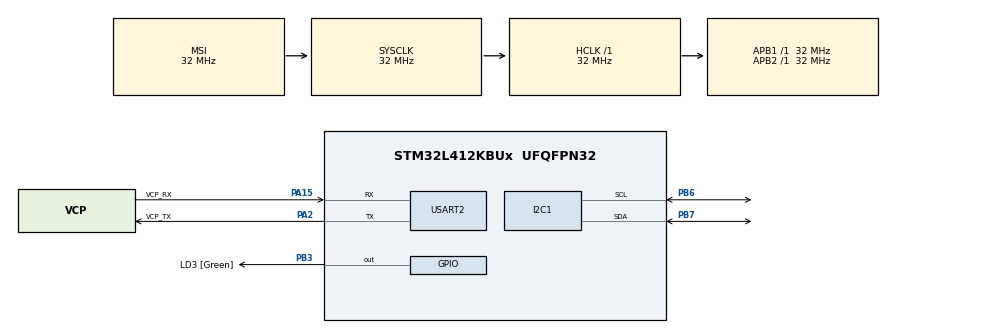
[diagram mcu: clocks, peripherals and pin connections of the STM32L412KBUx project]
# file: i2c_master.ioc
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Mcu.Family=STM32L4
PB3\ (JTDO/TRACESWO).GPIO_Label=LD3 [Green]
RCC.MSI_VALUE=32000000
RCC.CortexFreq_Value=32000000
PA13\ (JTMS/SWDIO).Mode=Serial_Wire
PA0-CK_IN.Mode=HSE-External-Clock-Source-for-LittleOrca
PC15-OSC32_OUT\ (PC15).Signal=RCC_OSC32_OUT
PA15\ (JTDI).Signal=USART2_RX
PC15-OSC32_OUT\ (PC15).Mode=LSE-External-Oscillator
ProjectManager.StackSize=0x400
PC14-OSC32_IN\ (PC14).Mode=LSE-External-Oscillator
PA14\ (JTCK/SWCLK).Signal=SYS_JTCK-SWCLK
PA15\ (JTDI).Mode=Asynchronous
PB3\ (JTDO/TRACESWO).Signal=GPIO_Output
ProjectManager.TargetToolchain=STM32CubeIDE
RCC.HCLKFreq_Value=32000000
RCC.FLatency=FLASH_LATENCY_1
RCC.APB2TimFreq_Value=32000000
PB6.Signal=I2C1_SCL
I2C1.Timing=0x00707CBB
PB6.Mode=I2C
RCC.HSICalibrationValue=16
RCC.USBFreq_Value=32000000
RCC.AHBFreq_Value=32000000
RCC.HSE_VALUE=8000000
board=NUCLEO-L412KB
USART2.VirtualMode-Asynchronous=VM_ASYNC
RCC.VCOOutputFreq_Value=256000000
PA0-CK_IN.Signal=RCC_CK_IN
PA13\ (JTMS/SWDIO).GPIO_Label=SWDIO
RCC.APB2Freq_Value=32000000
RCC.LSE_Drive_Capability=RCC_LSEDRIVE_LOW
RCC.ADCFreq_Value=32000000
PB7.Signal=I2C1_SDA
PA14\ (JTCK/SWCLK).Mode=Serial_Wire
PA15\ (JTDI).GPIO_Label=VCP_RX
Mcu.Name=STM32L412KBUx
PA2.Signal=USART2_TX
RCC.SYSCLKFreq_VALUE=32000000
Mcu.Package=UFQFPN32
PC14-OSC32_IN\ (PC14).Signal=RCC_OSC32_IN
PA2.GPIO_Label=VCP_TX
PB7.Mode=I2C
ProjectManager.HeapSize=0x200
RCC.HSI_VALUE=16000000
NVIC.PriorityGroup=NVIC_PRIORITYGROUP_4
PA14\ (JTCK/SWCLK).GPIO_Label=SWCLK
RCC.APB1TimFreq_Value=32000000
PA2.Mode=Asynchronous
RCC.APB1Freq_Value=32000000
RCC.MSIClockRange=RCC_MSIRANGE_10
RCC.HSI48_VALUE=48000000
PA13\ (JTMS/SWDIO).Signal=SYS_JTMS-SWDIO

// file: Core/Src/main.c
/* USER CODE BEGIN Header */
/**
  ******************************************************************************
  * @file           : main.c
  * @brief          : Main program body
  ******************************************************************************
  * @attention
  *
  * <h2><center>&copy; Copyright (c) 2021 STMicroelectronics.
  * All rights reserved.</center></h2>
  *
  * This software component is licensed by ST under BSD 3-Clause license,
  * the "License"; You may not use this file except in compliance with the
  * License. You may obtain a copy of the License at:
  *                        opensource.org/licenses/BSD-3-Clause
  *
  ******************************************************************************
  */
/* USER CODE END Header */
#include "main.h"

/* USER CODE BEGIN Includes */
#include "stdint.h"
#include "stdio.h"
/* USER CODE END Includes */

I2C_HandleTypeDef hi2c1;

UART_HandleTypeDef huart2;

void SystemClock_Config(void);
static void MX_GPIO_Init(void);
static void MX_USART2_UART_Init(void);
static void MX_I2C1_Init(void);

/* USER CODE BEGIN 0 */

#ifdef __GNUC__
/* With GCC/RAISONANCE, small printf (option LD Linker->Libraries->Small printf
 set to 'Yes') calls __io_putchar() */
#define PUTCHAR_PROTOTYPE int __io_putchar(int ch)
#else
#define PUTCHAR_PROTOTYPE int fputc(int ch, FILE *f)
#endif /* __GNUC__ */

uint8_t uart_buff = 0;
uint8_t command_1 = 0x45;
uint8_t command_2 = 0x23;
uint8_t laser_status = 0;
uint8_t slave_add = 0x23 << 1;

/* USER CODE END 0 */

int main(void)
{

  /* MCU Configuration--------------------------------------------------------*/

  /* Reset of all peripherals, Initializes the Flash interface and the Systick. */
  HAL_Init();

  /* Configure the system clock */
  SystemClock_Config();

  /* Initialize all configured peripherals */
  MX_GPIO_Init();
  MX_USART2_UART_Init();
  MX_I2C1_Init();

  /* Infinite loop */
  /* USER CODE BEGIN WHILE */
  while (1)
  {
	  HAL_UART_Receive(&huart2, &uart_buff, 1, 100);
	  if (uart_buff == 0xFF){
		  HAL_I2C_Master_Transmit(&hi2c1, (0x23 << 1), &command_1, 1, 500);
		  printf("sent command %x\n",slave_add);
		  uart_buff = 0;
	  }
	  if (uart_buff == 0xAA){
		  HAL_I2C_Master_Transmit(&hi2c1, (0x23 << 1), &command_2, 1, 500);
		  HAL_I2C_Master_Receive(&hi2c1, (0x23 << 1), &laser_status, 1, 500);
		  printf("status = %x\n",laser_status);
		  laser_status = 0;
		  uart_buff = 0;
	  }
	  if (uart_buff == 0xBB){
		  HAL_I2C_Master_Transmit(&hi2c1, (0x23 << 1), &command_1, 1, 500);
		  printf("sent command %x\n",slave_add);
		  for (int j = 0; j < 10;j++){
			  HAL_I2C_Master_Transmit(&hi2c1, (0x23 << 1), &command_2, 1, 500);
			  HAL_I2C_Master_Receive(&hi2c1, (0x23 << 1), &laser_status, 1, 500);
			  printf("status = %x\n",laser_status);
			  HAL_Delay(500);
		  }
		  uart_buff = 0;
	  }
    /* USER CODE END WHILE */

  }
}

void SystemClock_Config(void)
{
  RCC_OscInitTypeDef RCC_OscInitStruct = {0};
  RCC_ClkInitTypeDef RCC_ClkInitStruct = {0};
  RCC_PeriphCLKInitTypeDef PeriphClkInit = {0};

  /** Configure LSE Drive Capability
  */
  HAL_PWR_EnableBkUpAccess();
  __HAL_RCC_LSEDRIVE_CONFIG(RCC_LSEDRIVE_LOW);
  /** Configure the main internal regulator output voltage
  */
  if (HAL_PWREx_ControlVoltageScaling(PWR_REGULATOR_VOLTAGE_SCALE1) != HAL_OK)
  {
    Error_Handler();
  }
  /** Initializes the RCC Oscillators according to the specified parameters
  * in the RCC_OscInitTypeDef structure.
  */
  RCC_OscInitStruct.OscillatorType = RCC_OSCILLATORTYPE_LSE|RCC_OSCILLATORTYPE_MSI;
  RCC_OscInitStruct.LSEState = RCC_LSE_ON;
  RCC_OscInitStruct.MSIState = RCC_MSI_ON;
  RCC_OscInitStruct.MSICalibrationValue = 0;
  RCC_OscInitStruct.MSIClockRange = RCC_MSIRANGE_10;
  RCC_OscInitStruct.PLL.PLLState = RCC_PLL_NONE;
  if (HAL_RCC_OscConfig(&RCC_OscInitStruct) != HAL_OK)
  {
    Error_Handler();
  }
  /** Initializes the CPU, AHB and APB buses clocks
  */
  RCC_ClkInitStruct.ClockType = RCC_CLOCKTYPE_HCLK|RCC_CLOCKTYPE_SYSCLK
                              |RCC_CLOCKTYPE_PCLK1|RCC_CLOCKTYPE_PCLK2;
  RCC_ClkInitStruct.SYSCLKSource = RCC_SYSCLKSOURCE_MSI;
  RCC_ClkInitStruct.AHBCLKDivider = RCC_SYSCLK_DIV1;
  RCC_ClkInitStruct.APB1CLKDivider = RCC_HCLK_DIV1;
  RCC_ClkInitStruct.APB2CLKDivider = RCC_HCLK_DIV1;

  if (HAL_RCC_ClockConfig(&RCC_ClkInitStruct, FLASH_LATENCY_1) != HAL_OK)
  {
    Error_Handler();
  }
  PeriphClkInit.PeriphClockSelection = RCC_PERIPHCLK_USART2|RCC_PERIPHCLK_I2C1;
  PeriphClkInit.Usart2ClockSelection = RCC_USART2CLKSOURCE_PCLK1;
  PeriphClkInit.I2c1ClockSelection = RCC_I2C1CLKSOURCE_PCLK1;
  if (HAL_RCCEx_PeriphCLKConfig(&PeriphClkInit) != HAL_OK)
  {
    Error_Handler();
  }
  /** Enable MSI Auto calibration
  */
  HAL_RCCEx_EnableMSIPLLMode();
}

static void MX_I2C1_Init(void)
{

  hi2c1.Instance = I2C1;
  hi2c1.Init.Timing = 0x00707CBB;
  hi2c1.Init.OwnAddress1 = 0;
  hi2c1.Init.AddressingMode = I2C_ADDRESSINGMODE_7BIT;
  hi2c1.Init.DualAddressMode = I2C_DUALADDRESS_DISABLE;
  hi2c1.Init.OwnAddress2 = 0;
  hi2c1.Init.OwnAddress2Masks = I2C_OA2_NOMASK;
  hi2c1.Init.GeneralCallMode = I2C_GENERALCALL_DISABLE;
  hi2c1.Init.NoStretchMode = I2C_NOSTRETCH_DISABLE;
  if (HAL_I2C_Init(&hi2c1) != HAL_OK)
  {
    Error_Handler();
  }
  /** Configure Analogue filter
  */
  if (HAL_I2CEx_ConfigAnalogFilter(&hi2c1, I2C_ANALOGFILTER_ENABLE) != HAL_OK)
  {
    Error_Handler();
  }
  /** Configure Digital filter
  */
  if (HAL_I2CEx_ConfigDigitalFilter(&hi2c1, 0) != HAL_OK)
  {
    Error_Handler();
  }

}

static void MX_USART2_UART_Init(void)
{

  huart2.Instance = USART2;
  huart2.Init.BaudRate = 115200;
  huart2.Init.WordLength = UART_WORDLENGTH_8B;
  huart2.Init.StopBits = UART_STOPBITS_1;
  huart2.Init.Parity = UART_PARITY_NONE;
  huart2.Init.Mode = UART_MODE_TX_RX;
  huart2.Init.HwFlowCtl = UART_HWCONTROL_NONE;
  huart2.Init.OverSampling = UART_OVERSAMPLING_16;
  huart2.Init.OneBitSampling = UART_ONE_BIT_SAMPLE_DISABLE;
  huart2.AdvancedInit.AdvFeatureInit = UART_ADVFEATURE_NO_INIT;
  if (HAL_UART_Init(&huart2) != HAL_OK)
  {
    Error_Handler();
  }

}

static void MX_GPIO_Init(void)
{
  GPIO_InitTypeDef GPIO_InitStruct = {0};

  /* GPIO Ports Clock Enable */
  __HAL_RCC_GPIOC_CLK_ENABLE();
  __HAL_RCC_GPIOA_CLK_ENABLE();
  __HAL_RCC_GPIOB_CLK_ENABLE();

  /*Configure GPIO pin Output Level */
  HAL_GPIO_WritePin(LD3_GPIO_Port, LD3_Pin, GPIO_PIN_RESET);

  /*Configure GPIO pin : LD3_Pin */
  GPIO_InitStruct.Pin = LD3_Pin;
  GPIO_InitStruct.Mode = GPIO_MODE_OUTPUT_PP;
  GPIO_InitStruct.Pull = GPIO_NOPULL;
  GPIO_InitStruct.Speed = GPIO_SPEED_FREQ_LOW;
  HAL_GPIO_Init(LD3_GPIO_Port, &GPIO_InitStruct);

}

/* USER CODE BEGIN 4 */
/**
 * @brief Retargets the C library printf function to the USART.
 * @param None
 * @retval None
 */
PUTCHAR_PROTOTYPE
{
 /* Place your implementation of fputc here */
 /* e.g. write a character to the USART2 and Loop until the end of transmission */
 HAL_UART_Transmit(&huart2, (uint8_t *)&ch, 1, 0xFFFF);

return ch;
}
/* USER CODE END 4 */

void Error_Handler(void)
{
  __disable_irq();
  while (1)
  {
  }
}

/************************ (C) COPYRIGHT STMicroelectronics *****END OF FILE****/
